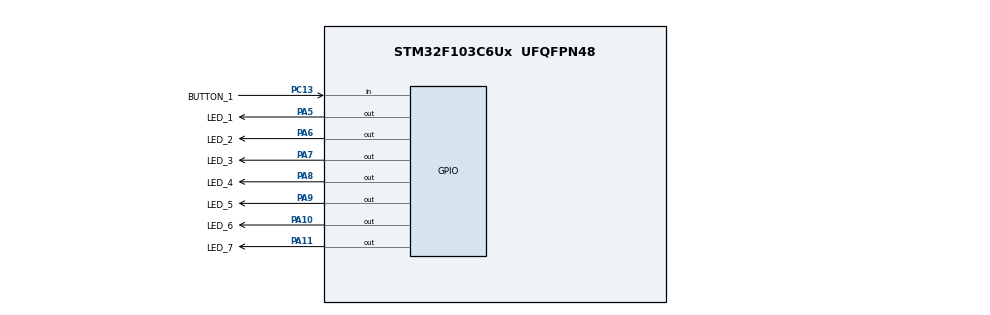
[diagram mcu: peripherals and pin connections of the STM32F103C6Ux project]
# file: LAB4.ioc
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Mcu.Family=STM32F1
Mcu.Name=STM32F103C6Ux
Mcu.Package=UFQFPN48
NVIC.PriorityGroup=NVIC_PRIORITYGROUP_4
NVIC.TIM2_IRQn=true\:0\:0\:false\:false\:true\:true\:true
PA10.GPIO_Label=LED_6
PA10.Signal=GPIO_Output
PA11.GPIO_Label=LED_7
PA11.Signal=GPIO_Output
PA5.GPIO_Label=LED_1
PA5.Signal=GPIO_Output
PA6.GPIO_Label=LED_2
PA6.Signal=GPIO_Output
PA7.GPIO_Label=LED_3
PA7.Signal=GPIO_Output
PA8.GPIO_Label=LED_4
PA8.Signal=GPIO_Output
PA9.GPIO_Label=LED_5
PA9.Signal=GPIO_Output
PC13-TAMPER-RTC.GPIO_Label=BUTTON_1
PC13-TAMPER-RTC.GPIO_PuPd=GPIO_PULLUP
PC13-TAMPER-RTC.Signal=GPIO_Input
ProjectManager.HeapSize=0x200
ProjectManager.StackSize=0x400
ProjectManager.TargetToolchain=STM32CubeIDE
RCC.APB1Freq_Value=8000000
RCC.APB2Freq_Value=8000000
TIM2.Period=9
TIM2.Prescaler=7999
VP_SYS_VS_ND.Mode=No_Debug
VP_TIM2_VS_ClockSourceINT.Mode=Internal
board=custom

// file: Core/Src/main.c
/* USER CODE BEGIN Header */
/**
  ******************************************************************************
  * @file           : main.c
  * @brief          : Main program body
  ******************************************************************************
  * @attention
  *
  * <h2><center>&copy; Copyright (c) 2023 STMicroelectronics.
  * All rights reserved.</center></h2>
  *
  * This software component is licensed by ST under BSD 3-Clause license,
  * the "License"; You may not use this file except in compliance with the
  * License. You may obtain a copy of the License at:
  *                        opensource.org/licenses/BSD-3-Clause
  *
  ******************************************************************************
  */
/* USER CODE END Header */
#include "main.h"

/* USER CODE BEGIN Includes */
#include "global.h"
#include "my_scheduler.h"
#include "button_reading.h"
/* USER CODE END Includes */

TIM_HandleTypeDef htim2;

void SystemClock_Config(void);
static void MX_GPIO_Init(void);
static void MX_TIM2_Init(void);

int main(void)
{

  /* MCU Configuration--------------------------------------------------------*/

  /* Reset of all peripherals, Initializes the Flash interface and the Systick. */
  HAL_Init();

  /* Configure the system clock */
  SystemClock_Config();

  /* Initialize all configured peripherals */
  MX_GPIO_Init();
  MX_TIM2_Init();
  /* USER CODE BEGIN 2 */
  HAL_TIM_Base_Start_IT(&htim2);
  SCH_Init();
  HAL_GPIO_WritePin(GPIOA, LED_1_Pin|LED_2_Pin|LED_3_Pin|LED_4_Pin
                            |LED_5_Pin|LED_6_Pin|LED_7_Pin, GPIO_PIN_RESET);
  SCH_Add_Task(led1, 500, 0);
  SCH_Add_Task(led2, 0, 50);
  SCH_Add_Task(led3, 0, 100);
  SCH_Add_Task(led4, 0, 150);
  SCH_Add_Task(led5, 0, 200);
  SCH_Add_Task(led6, 0, 250);
  SCH_Add_Task(getButtonValue, 0, 1);
  SCH_Add_Task(test_input_output, 0, 1);

  /* USER CODE END 2 */

  /* Infinite loop */
  while (1)
  {

    /* USER CODE BEGIN 3 */
	  SCH_Dispatch_Tasks();
  }
  /* USER CODE END 3 */
}

void SystemClock_Config(void)
{
  RCC_OscInitTypeDef RCC_OscInitStruct = {0};
  RCC_ClkInitTypeDef RCC_ClkInitStruct = {0};

  /** Initializes the RCC Oscillators according to the specified parameters
  * in the RCC_OscInitTypeDef structure.
  */
  RCC_OscInitStruct.OscillatorType = RCC_OSCILLATORTYPE_HSI;
  RCC_OscInitStruct.HSIState = RCC_HSI_ON;
  RCC_OscInitStruct.HSICalibrationValue = RCC_HSICALIBRATION_DEFAULT;
  RCC_OscInitStruct.PLL.PLLState = RCC_PLL_NONE;
  if (HAL_RCC_OscConfig(&RCC_OscInitStruct) != HAL_OK)
  {
    Error_Handler();
  }
  /** Initializes the CPU, AHB and APB buses clocks
  */
  RCC_ClkInitStruct.ClockType = RCC_CLOCKTYPE_HCLK|RCC_CLOCKTYPE_SYSCLK
                              |RCC_CLOCKTYPE_PCLK1|RCC_CLOCKTYPE_PCLK2;
  RCC_ClkInitStruct.SYSCLKSource = RCC_SYSCLKSOURCE_HSI;
  RCC_ClkInitStruct.AHBCLKDivider = RCC_SYSCLK_DIV1;
  RCC_ClkInitStruct.APB1CLKDivider = RCC_HCLK_DIV1;
  RCC_ClkInitStruct.APB2CLKDivider = RCC_HCLK_DIV1;

  if (HAL_RCC_ClockConfig(&RCC_ClkInitStruct, FLASH_LATENCY_0) != HAL_OK)
  {
    Error_Handler();
  }
}

static void MX_TIM2_Init(void)
{

  TIM_ClockConfigTypeDef sClockSourceConfig = {0};
  TIM_MasterConfigTypeDef sMasterConfig = {0};

  htim2.Instance = TIM2;
  htim2.Init.Prescaler = 7999;
  htim2.Init.CounterMode = TIM_COUNTERMODE_UP;
  htim2.Init.Period = 9;
  htim2.Init.ClockDivision = TIM_CLOCKDIVISION_DIV1;
  htim2.Init.AutoReloadPreload = TIM_AUTORELOAD_PRELOAD_DISABLE;
  if (HAL_TIM_Base_Init(&htim2) != HAL_OK)
  {
    Error_Handler();
  }
  sClockSourceConfig.ClockSource = TIM_CLOCKSOURCE_INTERNAL;
  if (HAL_TIM_ConfigClockSource(&htim2, &sClockSourceConfig) != HAL_OK)
  {
    Error_Handler();
  }
  sMasterConfig.MasterOutputTrigger = TIM_TRGO_RESET;
  sMasterConfig.MasterSlaveMode = TIM_MASTERSLAVEMODE_DISABLE;
  if (HAL_TIMEx_MasterConfigSynchronization(&htim2, &sMasterConfig) != HAL_OK)
  {
    Error_Handler();
  }

}

static void MX_GPIO_Init(void)
{
  GPIO_InitTypeDef GPIO_InitStruct = {0};

  /* GPIO Ports Clock Enable */
  __HAL_RCC_GPIOC_CLK_ENABLE();
  __HAL_RCC_GPIOA_CLK_ENABLE();

  /*Configure GPIO pin Output Level */
  HAL_GPIO_WritePin(GPIOA, LED_1_Pin|LED_2_Pin|LED_3_Pin|LED_4_Pin
                          |LED_5_Pin|LED_6_Pin|LED_7_Pin, GPIO_PIN_RESET);

  /*Configure GPIO pin : BUTTON_1_Pin */
  GPIO_InitStruct.Pin = BUTTON_1_Pin;
  GPIO_InitStruct.Mode = GPIO_MODE_INPUT;
  GPIO_InitStruct.Pull = GPIO_PULLUP;
  HAL_GPIO_Init(BUTTON_1_GPIO_Port, &GPIO_InitStruct);

  /*Configure GPIO pins : LED_1_Pin LED_2_Pin LED_3_Pin LED_4_Pin
                           LED_5_Pin LED_6_Pin LED_7_Pin */
  GPIO_InitStruct.Pin = LED_1_Pin|LED_2_Pin|LED_3_Pin|LED_4_Pin
                          |LED_5_Pin|LED_6_Pin|LED_7_Pin;
  GPIO_InitStruct.Mode = GPIO_MODE_OUTPUT_PP;
  GPIO_InitStruct.Pull = GPIO_NOPULL;
  GPIO_InitStruct.Speed = GPIO_SPEED_FREQ_LOW;
  HAL_GPIO_Init(GPIOA, &GPIO_InitStruct);

}

/* USER CODE BEGIN 4 */
void HAL_TIM_PeriodElapsedCallback(TIM_HandleTypeDef *htim)
{
	SCH_Update();
}
/* USER CODE END 4 */

void Error_Handler(void)
{
  __disable_irq();
  while (1)
  {
  }
}

/************************ (C) COPYRIGHT STMicroelectronics *****END OF FILE****/
